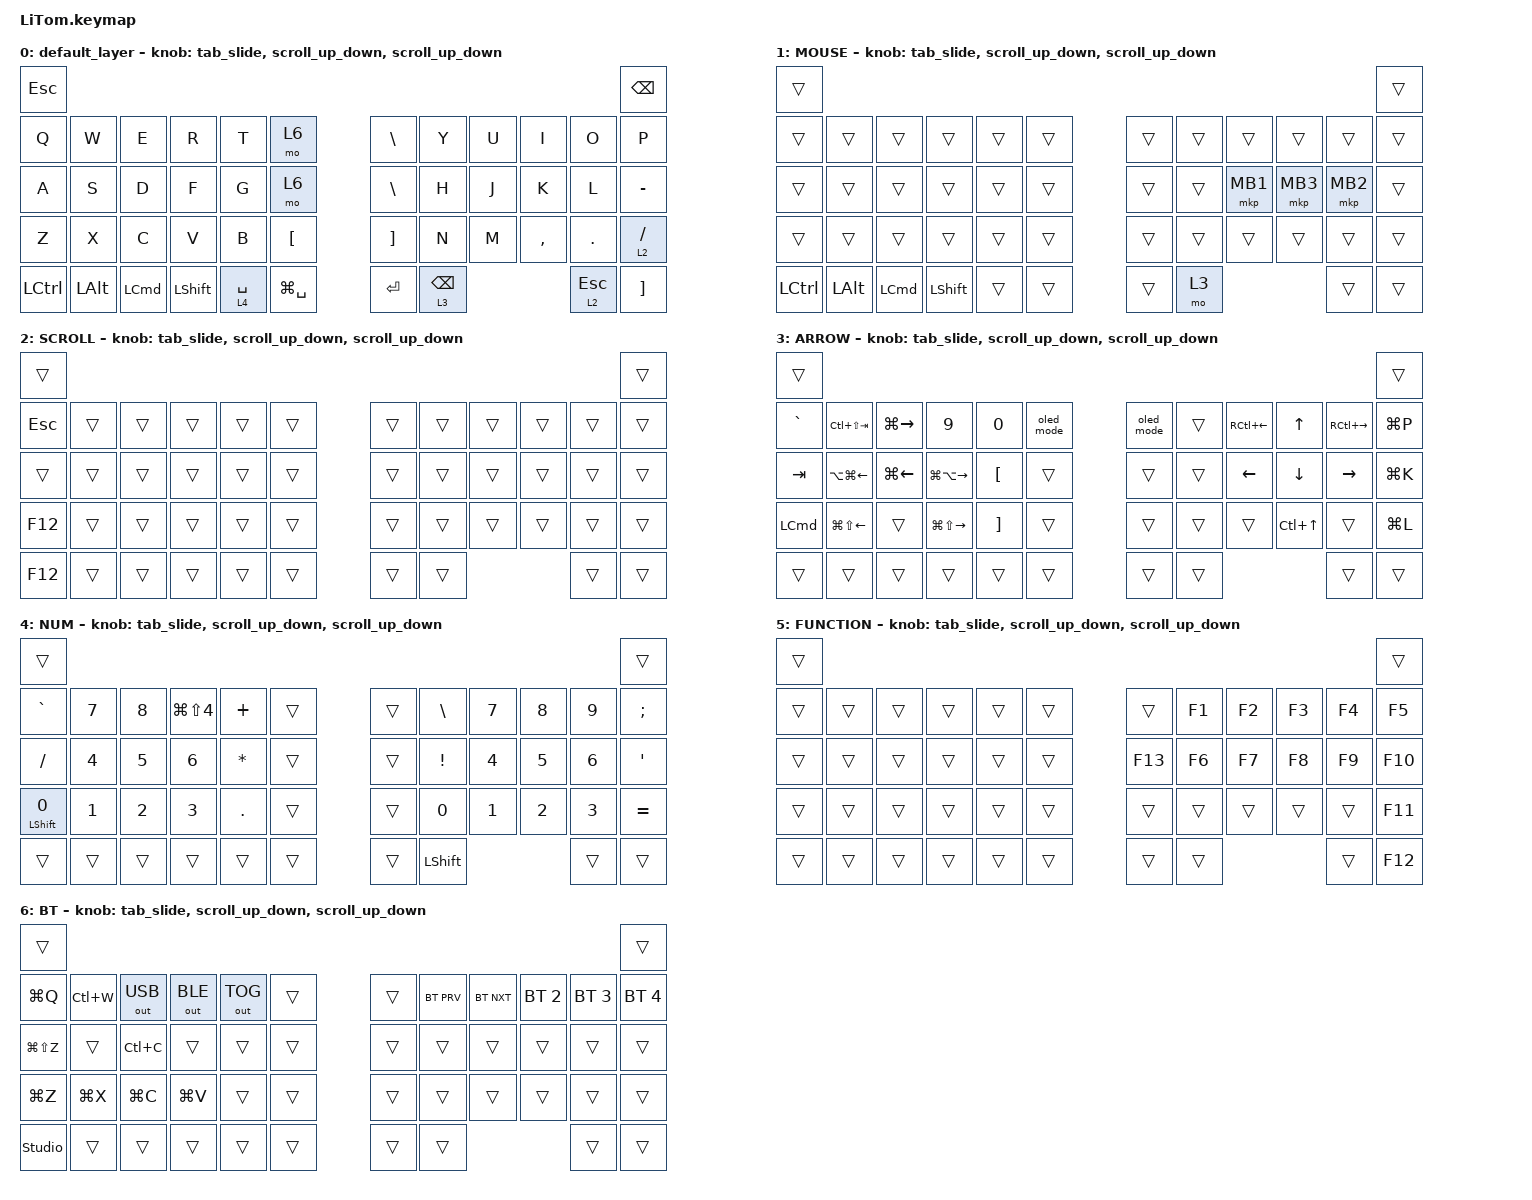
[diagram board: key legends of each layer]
#include <zephyr/dt-bindings/input/input-event-codes.h>
#include <input/processors/runtime-input-processor.dtsi>
#include <behaviors/runtime-input-processor.dtsi>
#include <behaviors/runtime_macro.dtsi>
#include <behaviors/runtime-sensor-rotate.dtsi>
#include <behaviors.dtsi>
#include <dt-bindings/zmk/bt.h>
#include <dt-bindings/zmk/keys.h>
#include <dt-bindings/zmk/outputs.h>
#include <dt-bindings/zmk/pointing.h>

&mouse_runtime_input_processor {
    temp-layer-enabled;
    temp-layer = <1>;
    temp-layer-activation-delay-ms = <0>;
    temp-layer-deactivation-delay-ms = <400>;
};

#undef ZMK_POINTING_DEFAULT_SCRL_VAL

#define ZMK_POINTING_DEFAULT_SCRL_VAL 80

/ {
    behaviors {
        scroll_up_down: behavior_sensor_rotate_mouse_wheel_up_down {
            compatible = "zmk,behavior-runtime-sensor-rotate";
            label = "ENCODER_MSC_DOWN_UP";
            #sensor-binding-cells = <0>;
            cw-binding = <&msc SCRL_DOWN>;
            ccw-binding = <&msc SCRL_UP>;
            tap-ms = <20>;
        };

        tab_slide: behavior_sensor_rotate_tab_slide {
            compatible = "zmk,behavior-runtime-sensor-rotate";
            label = "ENCODER_TAB_SLIDE";
            #sensor-binding-cells = <0>;
            cw-binding = <&kp LA(LG(RIGHT_ARROW))>;
            ccw-binding = <&kp LA(LG(LEFT_ARROW))>;
            tap-ms = <20>;
        };
    };

    keymap: keymap {
        compatible = "zmk,keymap";

        default_layer {
            bindings = <
&kp ESCAPE  &kp BACKSPACE
&kp Q       &kp W          &kp E             &kp R           &kp T        &mo 6             &kp BACKSLASH      &kp Y            &kp U         &kp I              &kp O    &kp P
&kp A       &kp S          &kp D             &kp F           &kp G        &mo 6             &kp BACKSLASH      &kp H            &kp J         &kp K              &kp L    &kp MINUS
&kp Z       &kp X          &kp C             &kp V           &kp B        &kp LEFT_BRACKET  &kp RIGHT_BRACKET  &kp N            &kp M         &kp COMMA          &kp DOT  &lt 2 SLASH
&kp LCTRL   &kp LEFT_ALT   &kp LEFT_COMMAND  &kp LEFT_SHIFT  &lt 4 SPACE  &kp LG(SPACE)     &kp ENTER          &lt 3 BACKSPACE  &lt 2 ESCAPE  &kp RIGHT_BRACKET
            >;

            sensor-bindings = <
                &tab_slide
                &scroll_up_down
                &scroll_up_down
            >;
        };

        MOUSE {
            bindings = <
&trans     &trans
&trans     &trans        &trans            &trans          &trans  &trans  &trans  &trans  &trans    &trans    &trans    &trans
&trans     &trans        &trans            &trans          &trans  &trans  &trans  &trans  &mkp MB1  &mkp MB3  &mkp MB2  &trans
&trans     &trans        &trans            &trans          &trans  &trans  &trans  &trans  &trans    &trans    &trans    &trans
&kp LCTRL  &kp LEFT_ALT  &kp LEFT_COMMAND  &kp LEFT_SHIFT  &trans  &trans  &trans  &mo 3   &trans    &trans
            >;

            sensor-bindings = <
                &tab_slide
                &scroll_up_down
                &scroll_up_down
            >;
        };

        SCROLL {
            bindings = <
&trans      &trans
&kp ESCAPE  &trans  &trans  &trans  &trans  &trans  &trans  &trans  &trans  &trans  &trans  &trans
&trans      &trans  &trans  &trans  &trans  &trans  &trans  &trans  &trans  &trans  &trans  &trans
&kp F12     &trans  &trans  &trans  &trans  &trans  &trans  &trans  &trans  &trans  &trans  &trans
&kp F12     &trans  &trans  &trans  &trans  &trans  &trans  &trans  &trans  &trans
            >;

            sensor-bindings = <
                &tab_slide
                &scroll_up_down
                &scroll_up_down
            >;
        };

        ARROW {
            bindings = <
&trans     &trans
&kp GRAVE  &kp LC(LS(TAB))         &kp LG(RIGHT)  &kp NUMBER_9             &kp NUMBER_0       &oled_mode  &oled_mode  &trans  &kp RC(LEFT_ARROW)  &kp UP_ARROW      &kp RC(RIGHT_ARROW)  &kp LG(P)
&kp TAB    &kp LA(LG(LEFT_ARROW))  &kp LG(LEFT)   &kp LG(LA(RIGHT_ARROW))  &kp LEFT_BRACKET   &trans      &trans      &trans  &kp LEFT_ARROW      &kp DOWN_ARROW    &kp RIGHT_ARROW      &kp LG(K)
&kp LCMD   &kp LG(LS(LEFT_ARROW))  &trans         &kp LG(LS(RIGHT_ARROW))  &kp RIGHT_BRACKET  &trans      &trans      &trans  &trans              &kp LC(UP_ARROW)  &trans               &kp LG(L)
&trans     &trans                  &trans         &trans                   &trans             &trans      &trans      &trans  &trans              &trans
            >;

            sensor-bindings = <
                &tab_slide
                &scroll_up_down
                &scroll_up_down
            >;
        };

        NUM {
            bindings = <
&trans                   &trans
&kp GRAVE                &kp NUMBER_7  &kp NUMBER_8  &kp LG(LS(NUMBER_4))  &kp PLUS      &trans  &trans  &kp BACKSLASH    &kp NUMBER_7  &kp NUMBER_8  &kp NUMBER_9  &kp SEMICOLON
&kp SLASH                &kp NUMBER_4  &kp NUMBER_5  &kp NUMBER_6          &kp ASTERISK  &trans  &trans  &kp EXCLAMATION  &kp NUMBER_4  &kp NUMBER_5  &kp NUMBER_6  &kp SQT
&mt LEFT_SHIFT NUMBER_0  &kp NUMBER_1  &kp NUMBER_2  &kp NUMBER_3          &kp PERIOD    &trans  &trans  &kp NUMBER_0     &kp NUMBER_1  &kp NUMBER_2  &kp NUMBER_3  &kp EQUAL
&trans                   &trans        &trans        &trans                &trans        &trans  &trans  &kp LEFT_SHIFT   &trans        &trans
            >;

            sensor-bindings = <
                &tab_slide
                &scroll_up_down
                &scroll_up_down
            >;
        };

        FUNCTION {
            bindings = <
&trans  &trans
&trans  &trans  &trans  &trans  &trans  &trans  &trans   &kp F1  &kp F2  &kp F3   &kp F4  &kp F5
&trans  &trans  &trans  &trans  &trans  &trans  &kp F13  &kp F6  &kp F7  &kp F8   &kp F9  &kp F10
&trans  &trans  &trans  &trans  &trans  &trans  &trans   &trans  &trans  &trans   &trans  &kp F11
&trans  &trans  &trans  &trans  &trans  &trans  &trans   &trans  &trans  &kp F12
            >;

            sensor-bindings = <
                &tab_slide
                &scroll_up_down
                &scroll_up_down
            >;
        };

        BT {
            bindings = <
&trans          &trans
&kp LG(Q)       &kp LC(W)  &out OUT_USB  &out OUT_BLE  &out OUT_TOG  &trans  &trans  &bt BT_PRV  &bt BT_NXT  &bt BT_SEL 2  &bt BT_SEL 3  &bt BT_SEL 4
&kp LG(LS(Z))   &trans     &kp LC(C)     &trans        &trans        &trans  &trans  &trans      &trans      &trans        &trans        &trans
&kp LG(Z)       &kp LG(X)  &kp LG(C)     &kp LG(V)     &trans        &trans  &trans  &trans      &trans      &trans        &trans        &trans
&studio_unlock  &trans     &trans        &trans        &trans        &trans  &trans  &trans      &trans      &trans
            >;

            sensor-bindings = <
                &tab_slide
                &scroll_up_down
                &scroll_up_down
            >;
        };
    };
};
